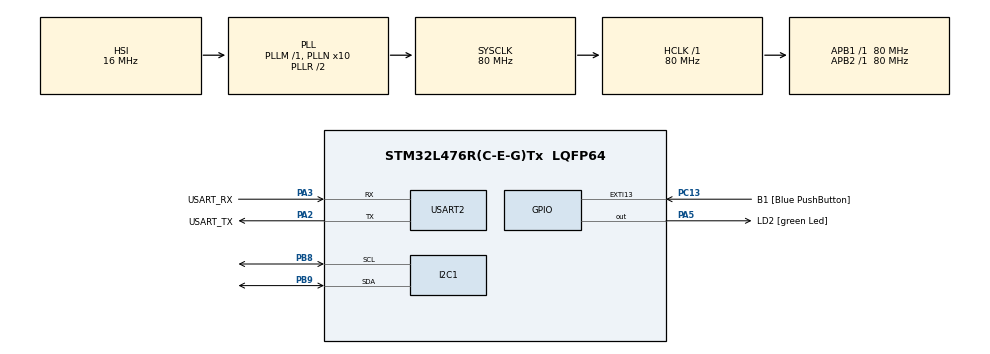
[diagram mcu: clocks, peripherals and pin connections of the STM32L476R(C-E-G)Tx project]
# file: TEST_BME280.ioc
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Dma.Request0=USART2_RX
Dma.USART2_RX.0.Direction=DMA_PERIPH_TO_MEMORY
Dma.USART2_RX.0.Instance=DMA1_Channel6
Dma.USART2_RX.0.MemDataAlignment=DMA_MDATAALIGN_BYTE
Dma.USART2_RX.0.MemInc=DMA_MINC_ENABLE
Dma.USART2_RX.0.Mode=DMA_NORMAL
Dma.USART2_RX.0.PeriphDataAlignment=DMA_PDATAALIGN_BYTE
Dma.USART2_RX.0.PeriphInc=DMA_PINC_DISABLE
Dma.USART2_RX.0.Priority=DMA_PRIORITY_LOW
I2C1.Timing=0x10909CEC
Mcu.Family=STM32L4
Mcu.Name=STM32L476R(C-E-G)Tx
Mcu.Package=LQFP64
NVIC.DMA1_Channel6_IRQn=true\:0\:0\:false\:false\:true\:false\:true\:true
NVIC.PriorityGroup=NVIC_PRIORITYGROUP_4
PA13\ (JTMS-SWDIO).GPIO_Label=TMS
PA13\ (JTMS-SWDIO).Mode=Serial_Wire
PA13\ (JTMS-SWDIO).Signal=SYS_JTMS-SWDIO
PA14\ (JTCK-SWCLK).GPIO_Label=TCK
PA14\ (JTCK-SWCLK).Mode=Serial_Wire
PA14\ (JTCK-SWCLK).Signal=SYS_JTCK-SWCLK
PA2.GPIO_Label=USART_TX
PA2.GPIO_Mode=GPIO_MODE_AF_PP
PA2.GPIO_PuPd=GPIO_NOPULL
PA2.GPIO_Speed=GPIO_SPEED_FREQ_VERY_HIGH
PA2.Mode=Asynchronous
PA2.Signal=USART2_TX
PA3.GPIO_Label=USART_RX
PA3.GPIO_Mode=GPIO_MODE_AF_PP
PA3.GPIO_PuPd=GPIO_NOPULL
PA3.GPIO_Speed=GPIO_SPEED_FREQ_VERY_HIGH
PA3.Mode=Asynchronous
PA3.Signal=USART2_RX
PA5.GPIO_Label=LD2 [green Led]
PA5.GPIO_ModeDefaultOutputPP=GPIO_MODE_OUTPUT_PP
PA5.GPIO_PuPd=GPIO_NOPULL
PA5.GPIO_Speed=GPIO_SPEED_FREQ_LOW
PA5.Signal=GPIO_Output
PB3\ (JTDO-TRACESWO).GPIO_Label=SWO
PB3\ (JTDO-TRACESWO).Signal=SYS_JTDO-SWO
PB8.Mode=I2C
PB8.Signal=I2C1_SCL
PB9.Mode=I2C
PB9.Signal=I2C1_SDA
PC13.GPIO_Label=B1 [Blue PushButton]
PC13.GPIO_ModeDefaultEXTI=GPIO_MODE_IT_FALLING
PC13.GPIO_PuPd=GPIO_NOPULL
PC13.Signal=GPXTI13
PC14-OSC32_IN\ (PC14).Mode=LSE-External-Oscillator
PC14-OSC32_IN\ (PC14).Signal=RCC_OSC32_IN
PC15-OSC32_OUT\ (PC15).Mode=LSE-External-Oscillator
PC15-OSC32_OUT\ (PC15).Signal=RCC_OSC32_OUT
PH0-OSC_IN\ (PH0).Mode=HSE-External-Oscillator
PH0-OSC_IN\ (PH0).Signal=RCC_OSC_IN
PH1-OSC_OUT\ (PH1).Mode=HSE-External-Oscillator
PH1-OSC_OUT\ (PH1).Signal=RCC_OSC_OUT
ProjectManager.HeapSize=0x200
ProjectManager.StackSize=0x400
ProjectManager.TargetToolchain=STM32CubeIDE
RCC.ADCFreq_Value=64000000
RCC.AHBFreq_Value=80000000
RCC.APB1Freq_Value=80000000
RCC.APB1TimFreq_Value=80000000
RCC.APB2Freq_Value=80000000
RCC.APB2TimFreq_Value=80000000
RCC.CortexFreq_Value=80000000
RCC.HCLKFreq_Value=80000000
RCC.HSE_VALUE=8000000
RCC.HSI_VALUE=16000000
RCC.MSI_VALUE=4000000
RCC.PLLN=10
RCC.PLLSourceVirtual=RCC_PLLSOURCE_HSI
RCC.PREFETCH_ENABLE=1
RCC.SYSCLKFreq_VALUE=80000000
RCC.SYSCLKSource=RCC_SYSCLKSOURCE_PLLCLK
RCC.USBFreq_Value=64000000
RCC.VCOOutputFreq_Value=160000000
USART2.VirtualMode-Asynchronous=VM_ASYNC
board=NUCLEO-L476RG

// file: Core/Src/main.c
/* USER CODE BEGIN Header */
/**
  ******************************************************************************
  * @file           : main.c
  * @brief          : Main program body
  ******************************************************************************
  * @attention
  *
  * Copyright (c) 2023 STMicroelectronics.
  * All rights reserved.
  *
  * This software is licensed under terms that can be found in the LICENSE file
  * in the root directory of this software component.
  * If no LICENSE file comes with this software, it is provided AS-IS.
  *
  ******************************************************************************
  */
/* USER CODE END Header */
#include "main.h"

/* USER CODE BEGIN Includes */

#include <stdio.h>

/* USER CODE END Includes */

I2C_HandleTypeDef hi2c1;

UART_HandleTypeDef huart2;

void SystemClock_Config(void);
static void MX_GPIO_Init(void);
static void MX_USART2_UART_Init(void);
static void MX_I2C1_Init(void);

int main(void)
{
  /* USER CODE BEGIN 1 */

	// Define variables as its name and type from data sheet
	uint8_t dig_H1, dig_H3, dig_H6, rawData[8], dataWrite;
	int16_t dig_T2, dig_T3, dig_P2, dig_P3, dig_P4, dig_P5, dig_P6, dig_P7, dig_P8, dig_P9, dig_H2, dig_H4, dig_H5;
	uint16_t dig_T1, dig_P1;
	int32_t tRaw, pRaw, hRaw, t_fine;
	char sendData[80];
	int len, temp, pressure, humid;

  /* USER CODE END 1 */

  /* MCU Configuration--------------------------------------------------------*/

  /* Reset of all peripherals, Initializes the Flash interface and the Systick. */
  HAL_Init();

  /* Configure the system clock */
  SystemClock_Config();

  /* Initialize all configured peripherals */
  MX_GPIO_Init();
  MX_USART2_UART_Init();
  MX_I2C1_Init();
  /* USER CODE BEGIN 2 */

	// Copy functions from data sheet that compensate data from sensor and switch "BME280_S32_t" to "int32_t"
	int32_t BME280_compensate_T_int32(int32_t adc_T) {

		int32_t var1, var2, T;
		var1 = ((((adc_T >> 3) - ((int32_t) dig_T1 << 1))) * ((int32_t) dig_T2))
				>> 11;
		var2 = (((((adc_T >> 4) - ((int32_t) dig_T1))
				* ((adc_T >> 4) - ((int32_t) dig_T1))) >> 12)
				* ((int32_t) dig_T3)) >> 14;
		t_fine = var1 + var2;
		T = (t_fine * 5 + 128) >> 8;
		return T;
	}

	uint32_t BME280_compensate_P_int64(int32_t adc_P) {

		int64_t var1, var2, p;
		var1 = ((int64_t) t_fine) - 128000;
		var2 = var1 * var1 * (int64_t) dig_P6;
		var2 = var2 + ((var1 * (int64_t) dig_P5) << 17);
		var2 = var2 + (((int64_t) dig_P4) << 35);
		var1 = ((var1 * var1 * (int64_t) dig_P3) >> 8)
				+ ((var1 * (int64_t) dig_P2) << 12);
		var1 = (((((int64_t) 1) << 47) + var1)) * ((int64_t) dig_P1) >> 33;
		if (var1 == 0) {
			return 0; // avoid exception caused by division by zero
		}
		p = 1048576 - adc_P;
		p = (((p << 31) - var2) * 3125) / var1;
		var1 = (((int64_t) dig_P9) * (p >> 13) * (p >> 13)) >> 25;
		var2 = (((int64_t) dig_P8) * p) >> 19;
		p = ((p + var1 + var2) >> 8) + (((int64_t) dig_P7) << 4);
		return (uint32_t) p;
	}

	uint32_t bme280_compensate_H_int32(int32_t adc_H) {

		int32_t v_x1_u32r;
		v_x1_u32r = (t_fine - ((int32_t) 76800));
		v_x1_u32r = (((((adc_H << 14) - (((int32_t) dig_H4) << 20)
				- (((int32_t) dig_H5) * v_x1_u32r)) + ((int32_t) 16384)) >> 15)
				* (((((((v_x1_u32r * ((int32_t) dig_H6)) >> 10)
						* (((v_x1_u32r * ((int32_t) dig_H3)) >> 11)
								+ ((int32_t) 32768))) >> 10)
						+ ((int32_t) 2097152)) * ((int32_t) dig_H2) + 8192)
						>> 14));
		v_x1_u32r = (v_x1_u32r
				- (((((v_x1_u32r >> 15) * (v_x1_u32r >> 15)) >> 7)
						* ((int32_t) dig_H1)) >> 4));
		v_x1_u32r = (v_x1_u32r < 0 ? 0 : v_x1_u32r);
		v_x1_u32r = (v_x1_u32r > 419430400 ? 419430400 : v_x1_u32r);
		return (uint32_t) (v_x1_u32r >> 12);
	}

	// Function for getting compensation variables.
	void calibData(uint16_t *dig_T1,int16_t *dig_T2,int16_t *dig_T3,uint16_t *dig_P1,int16_t *dig_P2,int16_t *dig_P3,int16_t *dig_P4,int16_t *dig_P5,int16_t *dig_P6,int16_t *dig_P7,int16_t *dig_P8,int16_t *dig_P9,uint8_t *dig_H1,int16_t *dig_H2,uint8_t *dig_H3,int16_t *dig_H4,int16_t *dig_H5,uint8_t *dig_H6){

		uint8_t compData[32]; // List to temporary store data
		HAL_I2C_Mem_Read(&hi2c1, 0x77<<1, 0x88, 1, compData, 25, 1000);
		HAL_I2C_Mem_Read(&hi2c1, 0x77<<1, 0xE1, 1, (uint8_t *)compData+25, 7, 1000);

		*dig_T1 = (compData[1] << 8) | compData[0]; // Organize data from list to their corresponding variable as it is in data sheet.
		*dig_T2 = (compData[3] << 8) | compData[2];
		*dig_T3 = (compData[5] << 8) | compData[4];
		*dig_P1 = (compData[7] << 8) | compData[5];
		*dig_P2 = (compData[9] << 8) | compData[6];
		*dig_P3 = (compData[11] << 8) | compData[10];
		*dig_P4 = (compData[13] << 8) | compData[12];
		*dig_P5 = (compData[15] << 8) | compData[14];
		*dig_P6 = (compData[17] << 8) | compData[16];
		*dig_P7 = (compData[19] << 8) | compData[18];
		*dig_P8 = (compData[21] << 8) | compData[20];
		*dig_P9 = (compData[23] << 8) | compData[22];
		*dig_H1 = compData[24];
		*dig_H2 = (compData[26] << 8) | compData[25];
		*dig_H3 = (compData[27]);
		*dig_H4 = (compData[28] << 4) | (compData[29] & 0x0f);
		*dig_H5 = (compData[30] << 4) | (compData[29] >> 4);
		*dig_H6 = (compData[31]);
	}

	dataWrite = 0xB6;
	HAL_I2C_Mem_Write(&hi2c1, 0x77<<1, 0xE0, 1, &dataWrite, 1, 1000);

	HAL_Delay(100);

	//  From data sheet the humidity need to be initialization first, and only works after temperature and pressure also has been initialization.
	dataWrite = 0x03; //00000011  // From data sheet its only the first 3 bits that counts. And 011 says its oversampling ×4
	HAL_I2C_Mem_Write(&hi2c1, 0x77<<1, 0xF2, 1, &dataWrite, 1, 1000);

	HAL_Delay(100);

	//  From data sheet the humidity need to be initialization first, and only works after temperature and pressure also has been initialization.
	dataWrite = 0x27; //00100111 //bit 7,6,5 = temperature sampling (001), bit 4,3,2 = hum sampling (001), bit 1,0 = normal mode (11)
	HAL_I2C_Mem_Write(&hi2c1, 0x77<<1, 0xF4, 1, &dataWrite, 1, 1000);

	HAL_Delay(100);

	// Get compensating numbers
	calibData(&dig_T1, &dig_T2, &dig_T3, &dig_P1, &dig_P2, &dig_P3, &dig_P4, &dig_P5, &dig_P6, &dig_P7, &dig_P8, &dig_P9, &dig_H1, &dig_H2, &dig_H3, &dig_H4, &dig_H5, &dig_H6);

	HAL_Delay(100);
  /* USER CODE END 2 */

  /* Infinite loop */
  while (1)
  {

    /* USER CODE BEGIN 3 */

	// Get raw data from sensor memory
	HAL_I2C_Mem_Read(&hi2c1, 0x77<<1, 0xF7, 1, rawData, 8, 1000);

	pRaw = (rawData[0]<<12)|(rawData[1]<<4)|(rawData[2]>>4); // Organize data from list to their corresponding variable as it is in data sheet.
	tRaw = (rawData[3]<<12)|(rawData[4]<<4)|(rawData[5]>>4);
	hRaw = (rawData[6]<<8)|(rawData[7]);

	temp = BME280_compensate_T_int32(tRaw); // Put data in function and receive corrected data
	pressure = BME280_compensate_P_int64(pRaw);
	humid = bme280_compensate_H_int32(hRaw);

	len = sprintf(sendData, "%u,%u,%u\r\n", temp, pressure, humid); // Turn initialization to string

	HAL_UART_Transmit(&huart2, (uint8_t*) sendData, len, 10); // Sending with UART
	HAL_Delay(1000);

  }
  /* USER CODE END 3 */
}

void SystemClock_Config(void)
{
  RCC_OscInitTypeDef RCC_OscInitStruct = {0};
  RCC_ClkInitTypeDef RCC_ClkInitStruct = {0};

  /** Configure the main internal regulator output voltage
  */
  if (HAL_PWREx_ControlVoltageScaling(PWR_REGULATOR_VOLTAGE_SCALE1) != HAL_OK)
  {
    Error_Handler();
  }

  /** Initializes the RCC Oscillators according to the specified parameters
  * in the RCC_OscInitTypeDef structure.
  */
  RCC_OscInitStruct.OscillatorType = RCC_OSCILLATORTYPE_HSI;
  RCC_OscInitStruct.HSIState = RCC_HSI_ON;
  RCC_OscInitStruct.HSICalibrationValue = RCC_HSICALIBRATION_DEFAULT;
  RCC_OscInitStruct.PLL.PLLState = RCC_PLL_ON;
  RCC_OscInitStruct.PLL.PLLSource = RCC_PLLSOURCE_HSI;
  RCC_OscInitStruct.PLL.PLLM = 1;
  RCC_OscInitStruct.PLL.PLLN = 10;
  RCC_OscInitStruct.PLL.PLLP = RCC_PLLP_DIV7;
  RCC_OscInitStruct.PLL.PLLQ = RCC_PLLQ_DIV2;
  RCC_OscInitStruct.PLL.PLLR = RCC_PLLR_DIV2;
  if (HAL_RCC_OscConfig(&RCC_OscInitStruct) != HAL_OK)
  {
    Error_Handler();
  }

  /** Initializes the CPU, AHB and APB buses clocks
  */
  RCC_ClkInitStruct.ClockType = RCC_CLOCKTYPE_HCLK|RCC_CLOCKTYPE_SYSCLK
                              |RCC_CLOCKTYPE_PCLK1|RCC_CLOCKTYPE_PCLK2;
  RCC_ClkInitStruct.SYSCLKSource = RCC_SYSCLKSOURCE_PLLCLK;
  RCC_ClkInitStruct.AHBCLKDivider = RCC_SYSCLK_DIV1;
  RCC_ClkInitStruct.APB1CLKDivider = RCC_HCLK_DIV1;
  RCC_ClkInitStruct.APB2CLKDivider = RCC_HCLK_DIV1;

  if (HAL_RCC_ClockConfig(&RCC_ClkInitStruct, FLASH_LATENCY_4) != HAL_OK)
  {
    Error_Handler();
  }
}

static void MX_I2C1_Init(void)
{

  hi2c1.Instance = I2C1;
  hi2c1.Init.Timing = 0x10909CEC;
  hi2c1.Init.OwnAddress1 = 0;
  hi2c1.Init.AddressingMode = I2C_ADDRESSINGMODE_7BIT;
  hi2c1.Init.DualAddressMode = I2C_DUALADDRESS_DISABLE;
  hi2c1.Init.OwnAddress2 = 0;
  hi2c1.Init.OwnAddress2Masks = I2C_OA2_NOMASK;
  hi2c1.Init.GeneralCallMode = I2C_GENERALCALL_DISABLE;
  hi2c1.Init.NoStretchMode = I2C_NOSTRETCH_DISABLE;
  if (HAL_I2C_Init(&hi2c1) != HAL_OK)
  {
    Error_Handler();
  }

  /** Configure Analogue filter
  */
  if (HAL_I2CEx_ConfigAnalogFilter(&hi2c1, I2C_ANALOGFILTER_ENABLE) != HAL_OK)
  {
    Error_Handler();
  }

  /** Configure Digital filter
  */
  if (HAL_I2CEx_ConfigDigitalFilter(&hi2c1, 0) != HAL_OK)
  {
    Error_Handler();
  }

}

static void MX_USART2_UART_Init(void)
{

  huart2.Instance = USART2;
  huart2.Init.BaudRate = 115200;
  huart2.Init.WordLength = UART_WORDLENGTH_8B;
  huart2.Init.StopBits = UART_STOPBITS_1;
  huart2.Init.Parity = UART_PARITY_NONE;
  huart2.Init.Mode = UART_MODE_TX_RX;
  huart2.Init.HwFlowCtl = UART_HWCONTROL_NONE;
  huart2.Init.OverSampling = UART_OVERSAMPLING_16;
  huart2.Init.OneBitSampling = UART_ONE_BIT_SAMPLE_DISABLE;
  huart2.AdvancedInit.AdvFeatureInit = UART_ADVFEATURE_NO_INIT;
  if (HAL_UART_Init(&huart2) != HAL_OK)
  {
    Error_Handler();
  }

}

static void MX_GPIO_Init(void)
{
  GPIO_InitTypeDef GPIO_InitStruct = {0};

  /* GPIO Ports Clock Enable */
  __HAL_RCC_GPIOC_CLK_ENABLE();
  __HAL_RCC_GPIOH_CLK_ENABLE();
  __HAL_RCC_GPIOA_CLK_ENABLE();
  __HAL_RCC_GPIOB_CLK_ENABLE();

  /*Configure GPIO pin Output Level */
  HAL_GPIO_WritePin(LD2_GPIO_Port, LD2_Pin, GPIO_PIN_RESET);

  /*Configure GPIO pin : B1_Pin */
  GPIO_InitStruct.Pin = B1_Pin;
  GPIO_InitStruct.Mode = GPIO_MODE_IT_FALLING;
  GPIO_InitStruct.Pull = GPIO_NOPULL;
  HAL_GPIO_Init(B1_GPIO_Port, &GPIO_InitStruct);

  /*Configure GPIO pin : LD2_Pin */
  GPIO_InitStruct.Pin = LD2_Pin;
  GPIO_InitStruct.Mode = GPIO_MODE_OUTPUT_PP;
  GPIO_InitStruct.Pull = GPIO_NOPULL;
  GPIO_InitStruct.Speed = GPIO_SPEED_FREQ_LOW;
  HAL_GPIO_Init(LD2_GPIO_Port, &GPIO_InitStruct);

}

void Error_Handler(void)
{
  __disable_irq();
  while (1)
  {
  }
}
